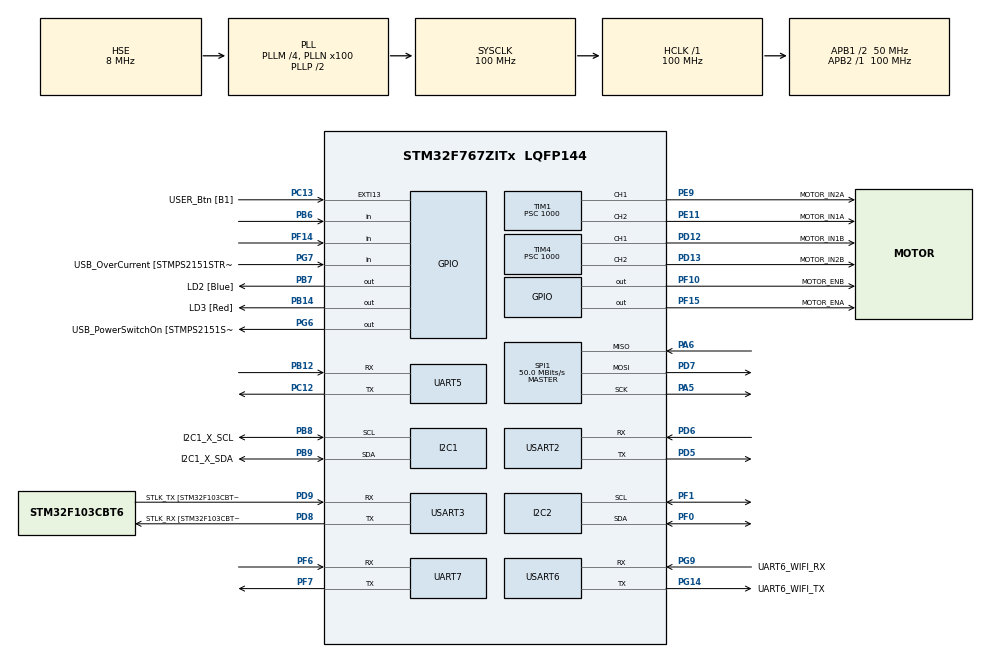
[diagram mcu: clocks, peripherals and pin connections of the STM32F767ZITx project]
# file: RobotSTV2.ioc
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Dma.Request0=USART3_RX
Dma.Request1=USART3_TX
Dma.Request2=USART2_RX
Dma.Request3=USART2_TX
Dma.Request4=USART6_RX
Dma.Request5=USART6_TX
Dma.USART2_RX.2.Direction=DMA_PERIPH_TO_MEMORY
Dma.USART2_RX.2.FIFOMode=DMA_FIFOMODE_DISABLE
Dma.USART2_RX.2.Instance=DMA1_Stream5
Dma.USART2_RX.2.MemDataAlignment=DMA_MDATAALIGN_BYTE
Dma.USART2_RX.2.MemInc=DMA_MINC_ENABLE
Dma.USART2_RX.2.Mode=DMA_NORMAL
Dma.USART2_RX.2.PeriphDataAlignment=DMA_PDATAALIGN_BYTE
Dma.USART2_RX.2.PeriphInc=DMA_PINC_DISABLE
Dma.USART2_RX.2.Priority=DMA_PRIORITY_LOW
Dma.USART2_TX.3.Direction=DMA_MEMORY_TO_PERIPH
Dma.USART2_TX.3.FIFOMode=DMA_FIFOMODE_DISABLE
Dma.USART2_TX.3.Instance=DMA1_Stream6
Dma.USART2_TX.3.MemDataAlignment=DMA_MDATAALIGN_BYTE
Dma.USART2_TX.3.MemInc=DMA_MINC_ENABLE
Dma.USART2_TX.3.Mode=DMA_NORMAL
Dma.USART2_TX.3.PeriphDataAlignment=DMA_PDATAALIGN_BYTE
Dma.USART2_TX.3.PeriphInc=DMA_PINC_DISABLE
Dma.USART2_TX.3.Priority=DMA_PRIORITY_LOW
Dma.USART3_RX.0.Direction=DMA_PERIPH_TO_MEMORY
Dma.USART3_RX.0.FIFOMode=DMA_FIFOMODE_DISABLE
Dma.USART3_RX.0.Instance=DMA1_Stream1
Dma.USART3_RX.0.MemDataAlignment=DMA_MDATAALIGN_BYTE
Dma.USART3_RX.0.MemInc=DMA_MINC_ENABLE
Dma.USART3_RX.0.Mode=DMA_NORMAL
Dma.USART3_RX.0.PeriphDataAlignment=DMA_PDATAALIGN_BYTE
Dma.USART3_RX.0.PeriphInc=DMA_PINC_DISABLE
Dma.USART3_RX.0.Priority=DMA_PRIORITY_LOW
Dma.USART3_TX.1.Direction=DMA_MEMORY_TO_PERIPH
Dma.USART3_TX.1.FIFOMode=DMA_FIFOMODE_DISABLE
Dma.USART3_TX.1.Instance=DMA1_Stream3
Dma.USART3_TX.1.MemDataAlignment=DMA_MDATAALIGN_BYTE
Dma.USART3_TX.1.MemInc=DMA_MINC_ENABLE
Dma.USART3_TX.1.Mode=DMA_NORMAL
Dma.USART3_TX.1.PeriphDataAlignment=DMA_PDATAALIGN_BYTE
Dma.USART3_TX.1.PeriphInc=DMA_PINC_DISABLE
Dma.USART3_TX.1.Priority=DMA_PRIORITY_LOW
Dma.USART6_RX.4.Direction=DMA_PERIPH_TO_MEMORY
Dma.USART6_RX.4.FIFOMode=DMA_FIFOMODE_DISABLE
Dma.USART6_RX.4.Instance=DMA2_Stream1
Dma.USART6_RX.4.MemDataAlignment=DMA_MDATAALIGN_BYTE
Dma.USART6_RX.4.MemInc=DMA_MINC_ENABLE
Dma.USART6_RX.4.Mode=DMA_NORMAL
Dma.USART6_RX.4.PeriphDataAlignment=DMA_PDATAALIGN_BYTE
Dma.USART6_RX.4.PeriphInc=DMA_PINC_DISABLE
Dma.USART6_RX.4.Priority=DMA_PRIORITY_LOW
Dma.USART6_TX.5.Direction=DMA_MEMORY_TO_PERIPH
Dma.USART6_TX.5.FIFOMode=DMA_FIFOMODE_DISABLE
Dma.USART6_TX.5.Instance=DMA2_Stream6
Dma.USART6_TX.5.MemDataAlignment=DMA_MDATAALIGN_BYTE
Dma.USART6_TX.5.MemInc=DMA_MINC_DISABLE
Dma.USART6_TX.5.Mode=DMA_NORMAL
Dma.USART6_TX.5.PeriphDataAlignment=DMA_PDATAALIGN_BYTE
Dma.USART6_TX.5.PeriphInc=DMA_PINC_DISABLE
Dma.USART6_TX.5.Priority=DMA_PRIORITY_LOW
I2C1.Timing=0x00C0EAFF
I2C2.Timing=0x00C0EAFF
Mcu.Family=STM32F7
Mcu.Name=STM32F767ZITx
Mcu.Package=LQFP144
NVIC.DMA1_Stream1_IRQn=true\:0\:0\:false\:false\:true\:false
NVIC.DMA1_Stream3_IRQn=true\:0\:0\:false\:false\:true\:false
NVIC.DMA1_Stream5_IRQn=true\:0\:0\:false\:false\:true\:false
NVIC.DMA1_Stream6_IRQn=true\:0\:0\:false\:false\:true\:false
NVIC.DMA2_Stream1_IRQn=true\:0\:0\:false\:false\:true\:false
NVIC.DMA2_Stream6_IRQn=true\:0\:0\:false\:false\:true\:false
NVIC.EXTI15_10_IRQn=true\:0\:0\:false\:false\:true\:true
NVIC.PriorityGroup=NVIC_PRIORITYGROUP_4
NVIC.USART2_IRQn=true\:0\:0\:false\:false\:true\:true
NVIC.USART3_IRQn=true\:0\:0\:false\:false\:true\:true
NVIC.USART6_IRQn=true\:0\:0\:false\:false\:true\:true
PA1.GPIO_Label=RMII_REF_CLK [LAN8742A-CZ-TR_REFCLK0]
PA1.Signal=ETH_REF_CLK
PA10.GPIO_Label=USB_ID
PA10.Signal=USB_OTG_FS_ID
PA11.GPIO_Label=USB_DM
PA11.Signal=USB_OTG_FS_DM
PA12.GPIO_Label=USB_DP
PA12.Signal=USB_OTG_FS_DP
PA13.GPIO_Label=TMS
PA13.Mode=Serial_Wire
PA13.Signal=SYS_JTMS-SWDIO
PA14.GPIO_Label=TCK
PA14.Mode=Serial_Wire
PA14.Signal=SYS_JTCK-SWCLK
PA2.GPIO_Label=RMII_MDIO [LAN8742A-CZ-TR_MDIO]
PA2.Signal=ETH_MDIO
PA5.Mode=Full_Duplex_Master
PA5.Signal=SPI1_SCK
PA6.Mode=Full_Duplex_Master
PA6.Signal=SPI1_MISO
PA7.GPIO_Label=RMII_CRS_DV [LAN8742A-CZ-TR_CRS_DV]
PA7.Signal=ETH_CRS_DV
PA8.GPIO_Label=USB_SOF [TP1]
PA8.Signal=USB_OTG_FS_SOF
PA9.GPIO_Label=USB_VBUS
PA9.Signal=USB_OTG_FS_VBUS
PB12.Mode=Asynchronous
PB12.Signal=UART5_RX
PB13.GPIO_Label=RMII_TXD1 [LAN8742A-CZ-TR_TXD1]
PB13.Signal=ETH_TXD1
PB14.GPIO_Label=LD3 [Red]
PB14.Signal=GPIO_Output
PB3.GPIO_Label=SWO
PB3.Signal=SYS_JTDO-SWO
PB6.Signal=GPIO_Input
PB7.GPIO_Label=LD2 [Blue]
PB7.Signal=GPIO_Output
PB8.GPIO_Label=I2C1_X_SCL
PB8.Mode=I2C
PB8.Signal=I2C1_SCL
PB9.GPIO_Label=I2C1_X_SDA
PB9.Mode=I2C
PB9.Signal=I2C1_SDA
PC1.GPIO_Label=RMII_MDC [LAN8742A-CZ-TR_MDC]
PC1.Signal=ETH_MDC
PC12.Mode=Asynchronous
PC12.Signal=UART5_TX
PC13.GPIO_Label=USER_Btn [B1]
PC13.Signal=GPXTI13
PC14/OSC32_IN.Mode=LSE-External-Oscillator
PC14/OSC32_IN.Signal=RCC_OSC32_IN
PC15/OSC32_OUT.Mode=LSE-External-Oscillator
PC15/OSC32_OUT.Signal=RCC_OSC32_OUT
PC4.GPIO_Label=RMII_RXD0 [LAN8742A-CZ-TR_RXD0]
PC4.Signal=ETH_RXD0
PC5.GPIO_Label=RMII_RXD1 [LAN8742A-CZ-TR_RXD1]
PC5.Signal=ETH_RXD1
PD0.Signal=CAN1_RX
PD1.Signal=CAN1_TX
PD12.GPIO_Label=MOTOR_IN1B
PD12.Signal=S_TIM4_CH1
PD13.GPIO_Label=MOTOR_IN2B
PD13.Signal=S_TIM4_CH2
PD5.Mode=Asynchronous
PD5.Signal=USART2_TX
PD6.Mode=Asynchronous
PD6.Signal=USART2_RX
PD7.Mode=Full_Duplex_Master
PD7.Signal=SPI1_MOSI
PD8.GPIO_Label=STLK_RX [STM32F103CBT6_PA3]
PD8.Mode=Asynchronous
PD8.Signal=USART3_TX
PD9.GPIO_Label=STLK_TX [STM32F103CBT6_PA2]
PD9.Mode=Asynchronous
PD9.Signal=USART3_RX
PE11.GPIO_Label=MOTOR_IN1A
PE11.Signal=S_TIM1_CH2
PE9.GPIO_Label=MOTOR_IN2A
PE9.Signal=S_TIM1_CH1
PF0.Mode=I2C
PF0.Signal=I2C2_SDA
PF1.Mode=I2C
PF1.Signal=I2C2_SCL
PF10.GPIO_Label=MOTOR_ENB
PF10.Signal=GPIO_Output
PF14.Signal=GPIO_Input
PF15.GPIO_Label=MOTOR_ENA
PF15.Signal=GPIO_Output
PF6.Mode=Asynchronous
PF6.Signal=UART7_RX
PF7.Mode=Asynchronous
PF7.Signal=UART7_TX
PG11.GPIO_Label=RMII_TX_EN [LAN8742A-CZ-TR_TXEN]
PG11.Signal=ETH_TX_EN
PG13.GPIO_Label=RMII_TXD0 [LAN8742A-CZ-TR_TXD0]
PG13.Signal=ETH_TXD0
PG14.GPIO_Label=UART6_WIFI_TX
PG14.Mode=Asynchronous
PG14.Signal=USART6_TX
PG6.GPIO_Label=USB_PowerSwitchOn [STMPS2151STR_EN]
PG6.Signal=GPIO_Output
PG7.GPIO_Label=USB_OverCurrent [STMPS2151STR_FAULT]
PG7.Signal=GPIO_Input
PG9.GPIO_Label=UART6_WIFI_RX
PG9.Mode=Asynchronous
PG9.Signal=USART6_RX
PH0/OSC_IN.GPIO_Label=MCO [STM32F103CBT6_PA8]
PH0/OSC_IN.Mode=HSE-External-Clock-Source
PH0/OSC_IN.Signal=RCC_OSC_IN
PH1/OSC_OUT.Mode=HSE-External-Clock-Source
PH1/OSC_OUT.Signal=RCC_OSC_OUT
ProjectManager.HeapSize=0x200
ProjectManager.StackSize=0x400
ProjectManager.TargetToolchain=TrueSTUDIO
RCC.48MHZClocksFreq_Value=24000000
RCC.AHBFreq_Value=100000000
RCC.APB1CLKDivider=RCC_HCLK_DIV2
RCC.APB1Freq_Value=50000000
RCC.APB1TimFreq_Value=100000000
RCC.APB2Freq_Value=100000000
RCC.APB2TimFreq_Value=100000000
RCC.CortexFreq_Value=100000000
RCC.HCLKFreq_Value=100000000
RCC.HSE_VALUE=8000000
RCC.HSI_VALUE=16000000
RCC.PLLM=4
RCC.PLLMUL=RCC_PLL_MUL9
RCC.PLLN=100
RCC.PLLQ=4
RCC.PLLSourceVirtual=RCC_PLLSOURCE_HSE
RCC.PRESCALERUSB=RCC_USBCLKSOURCE_PLL_DIV1_5
RCC.SYSCLKFreq_VALUE=100000000
RCC.SYSCLKSource=RCC_SYSCLKSOURCE_PLLCLK
RCC.SYSCLKSourceVirtual=RCC_SYSCLKSOURCE_PLLCLK
RCC.USBFreq_Value=50000000
RCC.VCOOutputFreq_Value=200000000
SH.S_TIM1_CH1.0=TIM1_CH1,PWM Generation1 CH1
SH.S_TIM1_CH2.0=TIM1_CH2,PWM Generation2 CH2
SH.S_TIM4_CH1.0=TIM4_CH1,PWM Generation1 CH1
SH.S_TIM4_CH2.0=TIM4_CH2,PWM Generation2 CH2
SPI1.CalculateBaudRate=50.0 MBits/s
SPI1.Direction=SPI_DIRECTION_2LINES
SPI1.Mode=SPI_MODE_MASTER
SPI1.VirtualType=VM_MASTER
TIM1.Channel-PWM\ Generation1\ CH1=TIM_CHANNEL_1
TIM1.Channel-PWM\ Generation2\ CH2=TIM_CHANNEL_2
TIM1.Prescaler=1000
TIM3.Period=99
TIM3.Prescaler=9999
TIM4.Channel-PWM\ Generation1\ CH1=TIM_CHANNEL_1
TIM4.Channel-PWM\ Generation2\ CH2=TIM_CHANNEL_2
TIM4.Period=0
TIM4.Prescaler=1000
USART2.VirtualMode-Asynchronous=VM_ASYNC
USART3.VirtualMode-Asynchronous=VM_ASYNC
USART6.VirtualMode-Asynchronous=VM_ASYNC
VP_CRC_VS_CRC.Mode=CRC_Activate
VP_RTC_VS_RTC_Activate.Mode=RTC_Enabled
VP_TIM1_VS_ClockSourceINT.Mode=Internal
VP_TIM2_VS_ClockSourceINT.Mode=Internal
VP_TIM3_VS_ClockSourceINT.Mode=Internal
VP_TIM4_VS_ClockSourceINT.Mode=Internal
board=NUCLEO-F767ZI

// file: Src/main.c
/**
  ******************************************************************************
  * @file           : main.c
  * @brief          : Main program body
  ******************************************************************************
  ** This notice applies to any and all portions of this file
  * that are not between comment pairs USER CODE BEGIN and
  * USER CODE END. Other portions of this file, whether
  * inserted by the user or by software development tools
  * are owned by their respective copyright owners.
  *
  * COPYRIGHT(c) 2018 STMicroelectronics
  *
  * Redistribution and use in source and binary forms, with or without modification,
  * are permitted provided that the following conditions are met:
  *   1. Redistributions of source code must retain the above copyright notice,
  *      this list of conditions and the following disclaimer.
  *   2. Redistributions in binary form must reproduce the above copyright notice,
  *      this list of conditions and the following disclaimer in the documentation
  *      and/or other materials provided with the distribution.
  *   3. Neither the name of STMicroelectronics nor the names of its contributors
  *      may be used to endorse or promote products derived from this software
  *      without specific prior written permission.
  *
  * THIS SOFTWARE IS PROVIDED BY THE COPYRIGHT HOLDERS AND CONTRIBUTORS "AS IS"
  * AND ANY EXPRESS OR IMPLIED WARRANTIES, INCLUDING, BUT NOT LIMITED TO, THE
  * IMPLIED WARRANTIES OF MERCHANTABILITY AND FITNESS FOR A PARTICULAR PURPOSE ARE
  * DISCLAIMED. IN NO EVENT SHALL THE COPYRIGHT HOLDER OR CONTRIBUTORS BE LIABLE
  * FOR ANY DIRECT, INDIRECT, INCIDENTAL, SPECIAL, EXEMPLARY, OR CONSEQUENTIAL
  * DAMAGES (INCLUDING, BUT NOT LIMITED TO, PROCUREMENT OF SUBSTITUTE GOODS OR
  * SERVICES; LOSS OF USE, DATA, OR PROFITS; OR BUSINESS INTERRUPTION) HOWEVER
  * CAUSED AND ON ANY THEORY OF LIABILITY, WHETHER IN CONTRACT, STRICT LIABILITY,
  * OR TORT (INCLUDING NEGLIGENCE OR OTHERWISE) ARISING IN ANY WAY OUT OF THE USE
  * OF THIS SOFTWARE, EVEN IF ADVISED OF THE POSSIBILITY OF SUCH DAMAGE.
  *
  ******************************************************************************
  */
#include "main.h"
#include "stm32f7xx_hal.h"
#include "crc.h"
#include "dma.h"
#include "i2c.h"
#include "rtc.h"
#include "spi.h"
#include "tim.h"
#include "usart.h"
#include "gpio.h"

/* USER CODE BEGIN Includes */

#include "stdio.h"
#include "string.h"
#include "wifi_module.h"
#include "wifi_globals.h"
#include "wifi_interface.h"

/* USER CODE END Includes */

/* USER CODE BEGIN PV */
/* Private variables ---------------------------------------------------------*/

/* USER CODE END PV */

void SystemClock_Config(void);

/* USER CODE BEGIN PFP */
/* Private function prototypes -----------------------------------------------*/

void USART_PRINT_MSG_Configuration(UART_HandleTypeDef *UART_MsgHandle,
		uint32_t baud_rate);

/* USER CODE END PFP */

/* USER CODE BEGIN 0 */

wifi_state_t wifi_state;
wifi_config config;
UART_HandleTypeDef UART_MsgHandle;

/* USER CODE END 0 */

int main(void)
{
  /* USER CODE BEGIN 1 */

	setvbuf(stdin, NULL, _IONBF, 0);
	setvbuf(stdout, NULL, _IONBF, 0);
	setvbuf(stderr, NULL, _IONBF, 0);

  /* USER CODE END 1 */

  /* MCU Configuration----------------------------------------------------------*/

  /* Reset of all peripherals, Initializes the Flash interface and the Systick. */
  HAL_Init();

  /* Configure the system clock */
  SystemClock_Config();

  /* Initialize all configured peripherals */
  MX_GPIO_Init();
  MX_DMA_Init();
  MX_USART3_UART_Init();
  MX_CRC_Init();
  MX_I2C1_Init();
  MX_I2C2_Init();
  MX_RTC_Init();
  MX_TIM1_Init();
  MX_TIM2_Init();
  MX_TIM3_Init();
  MX_TIM4_Init();
  MX_UART5_Init();
  MX_UART7_Init();
  MX_USART2_UART_Init();
  MX_USART6_UART_Init();
  MX_SPI1_Init();
  /* USER CODE BEGIN 2 */

  motor_init();

	USART_PRINT_MSG_Configuration(&huart3, 115200);
	Set_UartMsgHandle(&huart3); //this is required for the console handler initialization

	printf("\r\n Please wait... \r\n");

	// Wifi UART DMA enable
	USART6->CR3 |= 0x00000040;

	HAL_Delay(4000);
	printf("\r\n Ready... Updating ... \r\n");

  /* USER CODE END 2 */

  /* Infinite loop */
  /* USER CODE BEGIN WHILE */

 	 float locx,locy,locz,accelx,accely,accelz,gyrox,gyroy,gyroz,dist,spd,move,temp,pssr,humd;
 	 char *sts;

 	 while (1) {

		BSP_MotorControl_SetMaxSpeed(0, 10);
		BSP_MotorControl_Run(0, FORWARD);

		BSP_MotorControl_SetMaxSpeed(1, 10);
		BSP_MotorControl_Run(1, FORWARD);

 		 strcpy(sts, "Status GOOD");

 	 	 locx=10;
		 locy=20;
		 locz=30.3;
		 accelx=3.3;
		 accely=3.5;
		 accelz=0;
		 gyrox=4.2;
		 gyroy=4.3;
		 gyroz=4.4;
		 dist=40.5;
		 spd=42;
		 move=222;
		 temp=32;
		 pssr=1000;
		 humd=4.23;

	 	 ssi_update(locx,locy,locz,accelx,accely,accelz,gyrox,gyroy,gyroz,dist,spd,move,temp,pssr,humd,sts);

	 	 HAL_Delay(5000);

 		 strcpy(sts, "Status BAD");
	 	 ssi_update(locx,locy,locz,accelx,accely,accelz,gyrox,gyroy,gyroz,dist,spd,move,temp,pssr,humd,sts);

		BSP_MotorControl_SetMaxSpeed(0, 0);
		BSP_MotorControl_SetMaxSpeed(1, 0);

	 	HAL_Delay(5000);

  /* USER CODE END WHILE */

  }

}

void SystemClock_Config(void)
{

  RCC_OscInitTypeDef RCC_OscInitStruct;
  RCC_ClkInitTypeDef RCC_ClkInitStruct;
  RCC_PeriphCLKInitTypeDef PeriphClkInitStruct;

    /**Configure the main internal regulator output voltage
    */
  __HAL_RCC_PWR_CLK_ENABLE();

  __HAL_PWR_VOLTAGESCALING_CONFIG(PWR_REGULATOR_VOLTAGE_SCALE3);

    /**Initializes the CPU, AHB and APB busses clocks
    */
  RCC_OscInitStruct.OscillatorType = RCC_OSCILLATORTYPE_LSI|RCC_OSCILLATORTYPE_HSE;
  RCC_OscInitStruct.HSEState = RCC_HSE_BYPASS;
  RCC_OscInitStruct.LSIState = RCC_LSI_ON;
  RCC_OscInitStruct.PLL.PLLState = RCC_PLL_ON;
  RCC_OscInitStruct.PLL.PLLSource = RCC_PLLSOURCE_HSE;
  RCC_OscInitStruct.PLL.PLLM = 4;
  RCC_OscInitStruct.PLL.PLLN = 100;
  RCC_OscInitStruct.PLL.PLLP = RCC_PLLP_DIV2;
  RCC_OscInitStruct.PLL.PLLQ = 4;
  if (HAL_RCC_OscConfig(&RCC_OscInitStruct) != HAL_OK)
  {
    _Error_Handler(__FILE__, __LINE__);
  }

    /**Activate the Over-Drive mode
    */
  if (HAL_PWREx_EnableOverDrive() != HAL_OK)
  {
    _Error_Handler(__FILE__, __LINE__);
  }

    /**Initializes the CPU, AHB and APB busses clocks
    */
  RCC_ClkInitStruct.ClockType = RCC_CLOCKTYPE_HCLK|RCC_CLOCKTYPE_SYSCLK
                              |RCC_CLOCKTYPE_PCLK1|RCC_CLOCKTYPE_PCLK2;
  RCC_ClkInitStruct.SYSCLKSource = RCC_SYSCLKSOURCE_PLLCLK;
  RCC_ClkInitStruct.AHBCLKDivider = RCC_SYSCLK_DIV1;
  RCC_ClkInitStruct.APB1CLKDivider = RCC_HCLK_DIV2;
  RCC_ClkInitStruct.APB2CLKDivider = RCC_HCLK_DIV1;

  if (HAL_RCC_ClockConfig(&RCC_ClkInitStruct, FLASH_LATENCY_3) != HAL_OK)
  {
    _Error_Handler(__FILE__, __LINE__);
  }

  PeriphClkInitStruct.PeriphClockSelection = RCC_PERIPHCLK_RTC|RCC_PERIPHCLK_USART2
                              |RCC_PERIPHCLK_USART3|RCC_PERIPHCLK_USART6
                              |RCC_PERIPHCLK_UART5|RCC_PERIPHCLK_UART7
                              |RCC_PERIPHCLK_I2C1|RCC_PERIPHCLK_I2C2;
  PeriphClkInitStruct.RTCClockSelection = RCC_RTCCLKSOURCE_LSI;
  PeriphClkInitStruct.Usart2ClockSelection = RCC_USART2CLKSOURCE_PCLK1;
  PeriphClkInitStruct.Usart3ClockSelection = RCC_USART3CLKSOURCE_PCLK1;
  PeriphClkInitStruct.Uart5ClockSelection = RCC_UART5CLKSOURCE_PCLK1;
  PeriphClkInitStruct.Usart6ClockSelection = RCC_USART6CLKSOURCE_PCLK2;
  PeriphClkInitStruct.Uart7ClockSelection = RCC_UART7CLKSOURCE_PCLK1;
  PeriphClkInitStruct.I2c1ClockSelection = RCC_I2C1CLKSOURCE_PCLK1;
  PeriphClkInitStruct.I2c2ClockSelection = RCC_I2C2CLKSOURCE_PCLK1;
  if (HAL_RCCEx_PeriphCLKConfig(&PeriphClkInitStruct) != HAL_OK)
  {
    _Error_Handler(__FILE__, __LINE__);
  }

    /**Configure the Systick interrupt time
    */
  HAL_SYSTICK_Config(HAL_RCC_GetHCLKFreq()/1000);

    /**Configure the Systick
    */
  HAL_SYSTICK_CLKSourceConfig(SYSTICK_CLKSOURCE_HCLK);

  /* SysTick_IRQn interrupt configuration */
  HAL_NVIC_SetPriority(SysTick_IRQn, 0, 0);
}

/* USER CODE BEGIN 4 */

#ifdef USART_PRINT_MSG
void USART_PRINT_MSG_Configuration(UART_HandleTypeDef *UART_MsgHandle,
		uint32_t baud_rate) {
	UART_MsgHandle->Instance = WIFI_UART_MSG;
	UART_MsgHandle->Init.BaudRate = baud_rate;
	UART_MsgHandle->Init.WordLength = UART_WORDLENGTH_8B;
	UART_MsgHandle->Init.StopBits = UART_STOPBITS_1;
	UART_MsgHandle->Init.Parity = UART_PARITY_NONE;
	UART_MsgHandle->Init.HwFlowCtl = UART_HWCONTROL_NONE; // USART_HardwareFlowControl_RTS_CTS;
	UART_MsgHandle->Init.Mode = UART_MODE_TX_RX;

	if (HAL_UART_DeInit(UART_MsgHandle) != HAL_OK) {
		Error_Handler();
	}
	if (HAL_UART_Init(UART_MsgHandle) != HAL_OK) {
		Error_Handler();
	}
#ifdef WIFI_USE_VCOM
	/*## -1- Enable USART2 DMAT & DMAR #################################################*/
	UART_MsgHandle->Instance->CR3 |= 0x00000040;
#endif //WIFI_USE_VCOM
}
#endif

/* USER CODE END 4 */

void _Error_Handler(char *file, int line)
{
  while(1)
  {
  }
}

/************************ (C) COPYRIGHT STMicroelectronics *****END OF FILE****/
